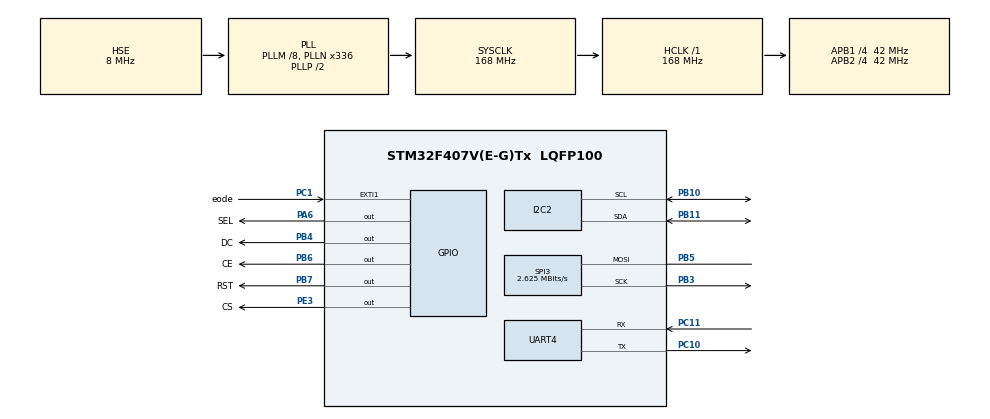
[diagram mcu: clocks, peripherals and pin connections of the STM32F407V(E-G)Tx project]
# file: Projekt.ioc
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I2C2.I2C_Mode=I2C_Fast
Mcu.Family=STM32F4
Mcu.Name=STM32F407V(E-G)Tx
Mcu.Package=LQFP100
NVIC.EXTI1_IRQn=true\:4\:0\:true\:false\:true\:true\:true
NVIC.PriorityGroup=NVIC_PRIORITYGROUP_4
PA6.GPIO_Label=SEL
PA6.GPIO_Speed=GPIO_SPEED_FREQ_VERY_HIGH
PA6.PinState=GPIO_PIN_SET
PA6.Signal=GPIO_Output
PB10.Mode=I2C
PB10.Signal=I2C2_SCL
PB11.Mode=I2C
PB11.Signal=I2C2_SDA
PB3.Mode=Simplex_Bidirectional_Master
PB3.Signal=SPI3_SCK
PB4.GPIO_Label=DC
PB4.GPIO_PuPd=GPIO_NOPULL
PB4.GPIO_Speed=GPIO_SPEED_FREQ_VERY_HIGH
PB4.PinState=GPIO_PIN_SET
PB4.Signal=GPIO_Output
PB5.Mode=Simplex_Bidirectional_Master
PB5.Signal=SPI3_MOSI
PB6.GPIO_Label=CE
PB6.GPIO_PuPd=GPIO_NOPULL
PB6.GPIO_Speed=GPIO_SPEED_FREQ_VERY_HIGH
PB6.PinState=GPIO_PIN_SET
PB6.Signal=GPIO_Output
PB7.GPIO_Label=RST
PB7.GPIO_PuPd=GPIO_NOPULL
PB7.GPIO_Speed=GPIO_SPEED_FREQ_VERY_HIGH
PB7.PinState=GPIO_PIN_SET
PB7.Signal=GPIO_Output
PC1.GPIO_Label=eode
PC1.GPIO_PuPd=GPIO_PULLDOWN
PC1.Signal=GPXTI1
PC10.Mode=Asynchronous
PC10.Signal=UART4_TX
PC11.Mode=Asynchronous
PC11.Signal=UART4_RX
PE3.GPIO_Label=CS
PE3.GPIO_PuPd=GPIO_NOPULL
PE3.GPIO_Speed=GPIO_SPEED_FREQ_VERY_HIGH
PE3.PinState=GPIO_PIN_SET
PE3.Signal=GPIO_Output
PH0-OSC_IN.Mode=HSE-External-Oscillator
PH0-OSC_IN.Signal=RCC_OSC_IN
PH1-OSC_OUT.Mode=HSE-External-Oscillator
PH1-OSC_OUT.Signal=RCC_OSC_OUT
ProjectManager.HeapSize=0x200
ProjectManager.StackSize=0x400
ProjectManager.TargetToolchain=STM32CubeIDE
RCC.48MHZClocksFreq_Value=84000000
RCC.AHBFreq_Value=168000000
RCC.APB1CLKDivider=RCC_HCLK_DIV4
RCC.APB1Freq_Value=42000000
RCC.APB1TimFreq_Value=84000000
RCC.APB2CLKDivider=RCC_HCLK_DIV4
RCC.APB2Freq_Value=42000000
RCC.APB2TimFreq_Value=84000000
RCC.CortexFreq_Value=168000000
RCC.HCLKFreq_Value=168000000
RCC.HSE_VALUE=8000000
RCC.HSI_VALUE=16000000
RCC.LSE_VALUE=32768
RCC.PLLM=8
RCC.PLLN=336
RCC.PLLSourceVirtual=RCC_PLLSOURCE_HSE
RCC.SYSCLKFreq_VALUE=168000000
RCC.SYSCLKSource=RCC_SYSCLKSOURCE_PLLCLK
RCC.VCOOutputFreq_Value=336000000
SPI3.BaudRatePrescaler=SPI_BAUDRATEPRESCALER_16
SPI3.CLKPolarity=SPI_POLARITY_LOW
SPI3.CalculateBaudRate=2.625 MBits/s
SPI3.Direction=SPI_DIRECTION_1LINE
SPI3.Mode=SPI_MODE_MASTER
SPI3.VirtualType=VM_MASTER
UART4.VirtualMode=Asynchronous
board=custom

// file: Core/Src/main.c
/* USER CODE BEGIN Header */
/**
  ******************************************************************************
  * @file           : main.c
  * @brief          : Main program body
  ******************************************************************************
  * @attention
  *
  * <h2><center>&copy; Copyright (c) 2020 STMicroelectronics.
  * All rights reserved.</center></h2>
  *
  * This software component is licensed by ST under BSD 3-Clause license,
  * the "License"; You may not use this file except in compliance with the
  * License. You may obtain a copy of the License at:
  *                        opensource.org/licenses/BSD-3-Clause
  *
  ******************************************************************************
  */
/* USER CODE END Header */

#include "main.h"

/* USER CODE BEGIN Includes */
#include "display.h"
#include "conv.h"
#include "uart.h"
#include "font.h"
/* USER CODE END Includes */

/* USER CODE BEGIN PD */
//Przydatne rejstry akcelerometru w projekcie
#define ACC_SLAVE_ADDR 0x3A
#define CTRL_REG4 0x20
#define OUT_X_L 0x28
#define OUT_X_H 0x29
#define OUT_Y_L 0x2A
#define OUT_Y_H 0x2B
#define OUT_Z_L 0x2C
#define OUT_Z_H 0x2D
#define ACC_RESOLUTION 2

//Ograniczneia ekranu
#define min_pos_y 0
#define max_pos_y 47
#define min_pos_x 0
#define max_pos_x 83

//********************************************************************************************

/* USER CODE END PD */

I2C_HandleTypeDef hi2c2;

SPI_HandleTypeDef hspi3;

UART_HandleTypeDef huart4;

/* USER CODE BEGIN PV */

//struktura przechowująca przeyspieszenie
struct aceleration{
	float x, y, z;
}acc;

//struktura okreslająca polozenie scian
struct constrains{
	uint8_t x1, x2, y1, y2;
};

int8_t mode = 2;

struct constrains walls[] = {
		{0,21,20,20}, 	//pierwsza line
		{21,21,20,39},	//druga line
		{12,21,39,39}, 	//trzecia line
		{12,11,32,39}, 	//czwarta line
		{13,37,10,10},	//piąta lina
		{37,37,0,10}, 	//szósta line
		{32,42,39,39}, 	//śiódma line
		{42,42,39,47}, 	//ósma line
		{36,36,20,31}, //dziewiąta line
		{36,83,31,31}, 	//dziesiąta line
		{60,60,31,39},	//jedynasta line
		{54,59,39,39},	//dwunasta line
		{73,73,42,47},	//trzynasta line
		{48,48,10,21}, 	//czternasta linia
		{48,59,10,10},	//pietnasta linia
		{59,59,0,10},	//szesnasta linia
		{60,71,21,21}, 	//siedemnsta linia
		{71,71,0,21}	//osiamnasta linia
};

/* USER CODE END PV */

void SystemClock_Config(void);
static void MX_GPIO_Init(void);
static void MX_SPI3_Init(void);
static void MX_UART4_Init(void);
static void MX_I2C2_Init(void);
/* USER CODE BEGIN PFP */

void i2cWrite(uint8_t reg, uint8_t data){
	HAL_I2C_Mem_Write(&hi2c2, ACC_SLAVE_ADDR, reg, 1, &data, 1, 100);;
}

uint8_t i2cRead(uint8_t reg){
	uint8_t data;
	HAL_I2C_Mem_Read(&hi2c2, ACC_SLAVE_ADDR, reg, 1, &data, 1, 100);;
	return data;
}

float odczytX(void)
{

	int16_t axis = (i2cRead(OUT_X_H) << 8) | i2cRead(OUT_X_L);
	return (axis * ACC_RESOLUTION)/(float)(32767);

}

float odczytY(void)
{
	int16_t axis = (i2cRead(OUT_Y_H) << 8) | i2cRead(OUT_Y_L);
	return (axis * ACC_RESOLUTION)/(float)(32767);
	}

float odczytZ(void)
{
	int16_t axis = (i2cRead(OUT_Z_H) << 8) | i2cRead(OUT_Z_L);
	return (axis * ACC_RESOLUTION)/(float)(32767);

}

void ball(void){

	int8_t x_pos=4, y_pos=4, cursorY;		//Zmienne pozycyjne

	displayCmd(0x0d);

 	displayDrawLevel();

  while(1){

	cursorY =  (5 - (y_pos / 8));
	//ustawienie kursora w odpowiednim miejscu
	displaySetCursor(x_pos,cursorY);
	//usuniecie pixela
	displayWrite(labirynth[cursorY * 84 + x_pos]);

    acc.x = odczytX();
    acc.y = odczytY();

    if(acc.y < -0.5){
    	x_pos += 1;
    }else if(acc.y > 0.5){
    	x_pos -= 1;
    }

    if(acc.x > 0.5){
    	y_pos += 1;
    }else if(acc.x < -0.5){
    	y_pos -= 1;
    }

	uint16_t i = 0;

	while(1)
	{

		if((x_pos < walls[i].x1 || x_pos > walls[i].x2)){ ++i; continue; }

		if((y_pos < walls[i].y1 || y_pos > walls[i].y2)){ ++i; continue; }

		if(x_pos >= walls[i].x1 && x_pos <= walls[i].x2){

			if(x_pos == walls[i].x1 && x_pos == walls[i].x2){
				if(acc.y < -0.5){  x_pos -= 1;}
				if(acc.y >  0.5) { x_pos += 1;}
			}

			if(y_pos == walls[i].y1 && y_pos == walls[i].y2){
				if(acc.x >  0.5){  y_pos -= 1;}
				if(acc.x < -0.5){  y_pos += 1;}
			}
		}

		if(y_pos >= walls[i].x1 && y_pos <= walls[i].x1){

			if(x_pos == walls[i].x1 && x_pos == walls[i].x2){
				if(acc.y < -0.5){  x_pos -= 1;}
				if(acc.y >  0.5) { x_pos += 1;}
			}

			if(y_pos == walls[i].y1 && y_pos == walls[i].y2){
			if(acc.x >  0.5){  y_pos -= 1;}
			if(acc.x < -0.5){  y_pos += 1;}
			}
		}

	    //Uwzglednienie odbijania sie od scianek
	    if(x_pos < min_pos_x){	//Osiagnieto pierwsza pozycje skrajna
	      x_pos = min_pos_x + 1;

	    }
	    if(x_pos > max_pos_x){	//Osiagnieto druga pozycje skrajna
	      x_pos = max_pos_x;

	    }
	    if(y_pos < min_pos_y){
	      y_pos = min_pos_y + 1;

	    }
	    if(y_pos > max_pos_y){
	      y_pos = max_pos_y;
	    }

		++i;
		if(i > sizeof(walls)/sizeof(struct constrains)) break;
	}

	//obliczanie rejstru Y
	cursorY = 5 - (y_pos / 8);
	//ustawienie kursora w odpowiednim miejsu
	displaySetCursor(x_pos,cursorY);
	//narysowanie pixela
	displayWrite((0x80 >> (y_pos % 8)) | labirynth[cursorY * 84 + x_pos]);

	if( (y_pos == 46 || y_pos == 45 || y_pos == 44 || y_pos == 43 || y_pos == 42) && ( x_pos == 76 || x_pos == 77 || x_pos == 78 || x_pos == 79 || x_pos == 80 || x_pos == 81 || x_pos == 82)){
		displayClear();
		displaySetCursor(18,3);
		displayPrint("You Won!!!");
		HAL_Delay(2000);
		displayClear();
		x_pos = 4; y_pos = 4;
		displayDrawLevel();
	}
    HAL_Delay(150);	//Ustawienie okresu aktualizacji pomiaru/obrazu
    if(mode != 2){
    	break;
    }

  }
}

/* USER CODE END PFP */

int main(void)
{

  /* MCU Configuration--------------------------------------------------------*/

  /* Reset of all peripherals, Initializes the Flash interface and the Systick. */
  HAL_Init();

  /* Configure the system clock */
  SystemClock_Config();

  /* Initialize all configured peripherals */
  MX_GPIO_Init();
  MX_SPI3_Init();
  MX_UART4_Init();
  MX_I2C2_Init();
  /* USER CODE BEGIN 2 */

  uint8_t data = 0x57;
  int16_t axis;
  displayInit();

  i2cWrite(0x20, data);

  /* USER CODE END 2 */

  /* Infinite loop */
  /* USER CODE BEGIN WHILE */
  while (1)
  {

		axis = (i2cRead(OUT_X_H) << 8) | i2cRead(OUT_X_L);
		acc.x = (axis * ACC_RESOLUTION)/(float)(32767);

		axis = (i2cRead(OUT_Y_H) << 8) | i2cRead(OUT_Y_L);
		acc.y = (axis * ACC_RESOLUTION)/(float)(32767);

		axis = (i2cRead(OUT_Z_H) << 8) | i2cRead(OUT_Z_L);
		acc.z = (axis * ACC_RESOLUTION)/(float)(32767);

		if(mode == 0){
			displaySetCursor(0,0);
			displayPrint("X =");
			displaySetCursor(15,0);
			displayFloat(acc.x);
			displayPrint("g");

			displaySetCursor(0,2);
			displayPrint("Y =");
			displaySetCursor(15,2);
			displayFloat(acc.y);
			displayPrint("g");

			displaySetCursor(0,4);
			displayPrint("Z =");
			displaySetCursor(15,4);
			displayFloat(acc.z);
			displayPrint("g");

			HAL_Delay(200);
		}
		if(mode == 1){

			displaySetCursor(15,0);
			displayFloat(9.81 * acc.x);
			displayPrint(" m/s");

			displaySetCursor(15,2);
			displayFloat(9.81 * acc.y);
			displayPrint(" m/s");

			displaySetCursor(15,4);
			displayFloat(9.81 * acc.z);
			displayPrint(" m/s");

			HAL_Delay(200);
		}
		if(mode == 2){

			ball();
		}
    /* USER CODE END WHILE */

  }
}

void SystemClock_Config(void)
{
  RCC_OscInitTypeDef RCC_OscInitStruct = {0};
  RCC_ClkInitTypeDef RCC_ClkInitStruct = {0};

  /** Configure the main internal regulator output voltage
  */
  __HAL_RCC_PWR_CLK_ENABLE();
  __HAL_PWR_VOLTAGESCALING_CONFIG(PWR_REGULATOR_VOLTAGE_SCALE1);
  /** Initializes the CPU, AHB and APB busses clocks
  */
  RCC_OscInitStruct.OscillatorType = RCC_OSCILLATORTYPE_HSE;
  RCC_OscInitStruct.HSEState = RCC_HSE_ON;
  RCC_OscInitStruct.PLL.PLLState = RCC_PLL_ON;
  RCC_OscInitStruct.PLL.PLLSource = RCC_PLLSOURCE_HSE;
  RCC_OscInitStruct.PLL.PLLM = 8;
  RCC_OscInitStruct.PLL.PLLN = 336;
  RCC_OscInitStruct.PLL.PLLP = RCC_PLLP_DIV2;
  RCC_OscInitStruct.PLL.PLLQ = 4;
  if (HAL_RCC_OscConfig(&RCC_OscInitStruct) != HAL_OK)
  {
    Error_Handler();
  }
  /** Initializes the CPU, AHB and APB busses clocks
  */
  RCC_ClkInitStruct.ClockType = RCC_CLOCKTYPE_HCLK|RCC_CLOCKTYPE_SYSCLK
                              |RCC_CLOCKTYPE_PCLK1|RCC_CLOCKTYPE_PCLK2;
  RCC_ClkInitStruct.SYSCLKSource = RCC_SYSCLKSOURCE_PLLCLK;
  RCC_ClkInitStruct.AHBCLKDivider = RCC_SYSCLK_DIV1;
  RCC_ClkInitStruct.APB1CLKDivider = RCC_HCLK_DIV4;
  RCC_ClkInitStruct.APB2CLKDivider = RCC_HCLK_DIV4;

  if (HAL_RCC_ClockConfig(&RCC_ClkInitStruct, FLASH_LATENCY_5) != HAL_OK)
  {
    Error_Handler();
  }
}

static void MX_I2C2_Init(void)
{

  hi2c2.Instance = I2C2;
  hi2c2.Init.ClockSpeed = 400000;
  hi2c2.Init.DutyCycle = I2C_DUTYCYCLE_2;
  hi2c2.Init.OwnAddress1 = 0;
  hi2c2.Init.AddressingMode = I2C_ADDRESSINGMODE_7BIT;
  hi2c2.Init.DualAddressMode = I2C_DUALADDRESS_DISABLE;
  hi2c2.Init.OwnAddress2 = 0;
  hi2c2.Init.GeneralCallMode = I2C_GENERALCALL_DISABLE;
  hi2c2.Init.NoStretchMode = I2C_NOSTRETCH_DISABLE;
  if (HAL_I2C_Init(&hi2c2) != HAL_OK)
  {
    Error_Handler();
  }

}

static void MX_SPI3_Init(void)
{

  /* SPI3 parameter configuration*/
  hspi3.Instance = SPI3;
  hspi3.Init.Mode = SPI_MODE_MASTER;
  hspi3.Init.Direction = SPI_DIRECTION_1LINE;
  hspi3.Init.DataSize = SPI_DATASIZE_8BIT;
  hspi3.Init.CLKPolarity = SPI_POLARITY_LOW;
  hspi3.Init.CLKPhase = SPI_PHASE_1EDGE;
  hspi3.Init.NSS = SPI_NSS_SOFT;
  hspi3.Init.BaudRatePrescaler = SPI_BAUDRATEPRESCALER_16;
  hspi3.Init.FirstBit = SPI_FIRSTBIT_MSB;
  hspi3.Init.TIMode = SPI_TIMODE_DISABLE;
  hspi3.Init.CRCCalculation = SPI_CRCCALCULATION_DISABLE;
  hspi3.Init.CRCPolynomial = 10;
  if (HAL_SPI_Init(&hspi3) != HAL_OK)
  {
    Error_Handler();
  }

}

static void MX_UART4_Init(void)
{

  huart4.Instance = UART4;
  huart4.Init.BaudRate = 115200;
  huart4.Init.WordLength = UART_WORDLENGTH_8B;
  huart4.Init.StopBits = UART_STOPBITS_1;
  huart4.Init.Parity = UART_PARITY_NONE;
  huart4.Init.Mode = UART_MODE_TX_RX;
  huart4.Init.HwFlowCtl = UART_HWCONTROL_NONE;
  huart4.Init.OverSampling = UART_OVERSAMPLING_16;
  if (HAL_UART_Init(&huart4) != HAL_OK)
  {
    Error_Handler();
  }

}

static void MX_GPIO_Init(void)
{
  GPIO_InitTypeDef GPIO_InitStruct = {0};

  /* GPIO Ports Clock Enable */
  __HAL_RCC_GPIOE_CLK_ENABLE();
  __HAL_RCC_GPIOH_CLK_ENABLE();
  __HAL_RCC_GPIOC_CLK_ENABLE();
  __HAL_RCC_GPIOA_CLK_ENABLE();
  __HAL_RCC_GPIOB_CLK_ENABLE();

  /*Configure GPIO pin Output Level */
  HAL_GPIO_WritePin(CS_GPIO_Port, CS_Pin, GPIO_PIN_SET);

  /*Configure GPIO pin Output Level */
  HAL_GPIO_WritePin(SEL_GPIO_Port, SEL_Pin, GPIO_PIN_SET);

  /*Configure GPIO pin Output Level */
  HAL_GPIO_WritePin(GPIOB, DC_Pin|CE_Pin|RST_Pin, GPIO_PIN_SET);

  /*Configure GPIO pin : CS_Pin */
  GPIO_InitStruct.Pin = CS_Pin;
  GPIO_InitStruct.Mode = GPIO_MODE_OUTPUT_PP;
  GPIO_InitStruct.Pull = GPIO_NOPULL;
  GPIO_InitStruct.Speed = GPIO_SPEED_FREQ_VERY_HIGH;
  HAL_GPIO_Init(CS_GPIO_Port, &GPIO_InitStruct);

  /*Configure GPIO pin : eode_Pin */
  GPIO_InitStruct.Pin = eode_Pin;
  GPIO_InitStruct.Mode = GPIO_MODE_IT_RISING;
  GPIO_InitStruct.Pull = GPIO_PULLDOWN;
  HAL_GPIO_Init(eode_GPIO_Port, &GPIO_InitStruct);

  /*Configure GPIO pin : SEL_Pin */
  GPIO_InitStruct.Pin = SEL_Pin;
  GPIO_InitStruct.Mode = GPIO_MODE_OUTPUT_PP;
  GPIO_InitStruct.Pull = GPIO_NOPULL;
  GPIO_InitStruct.Speed = GPIO_SPEED_FREQ_VERY_HIGH;
  HAL_GPIO_Init(SEL_GPIO_Port, &GPIO_InitStruct);

  /*Configure GPIO pins : DC_Pin CE_Pin RST_Pin */
  GPIO_InitStruct.Pin = DC_Pin|CE_Pin|RST_Pin;
  GPIO_InitStruct.Mode = GPIO_MODE_OUTPUT_PP;
  GPIO_InitStruct.Pull = GPIO_NOPULL;
  GPIO_InitStruct.Speed = GPIO_SPEED_FREQ_VERY_HIGH;
  HAL_GPIO_Init(GPIOB, &GPIO_InitStruct);

  /* EXTI interrupt init*/
  HAL_NVIC_SetPriority(EXTI1_IRQn, 4, 0);
  HAL_NVIC_EnableIRQ(EXTI1_IRQn);

}

void Error_Handler(void)
{
}

/************************ (C) COPYRIGHT STMicroelectronics *****END OF FILE****/
